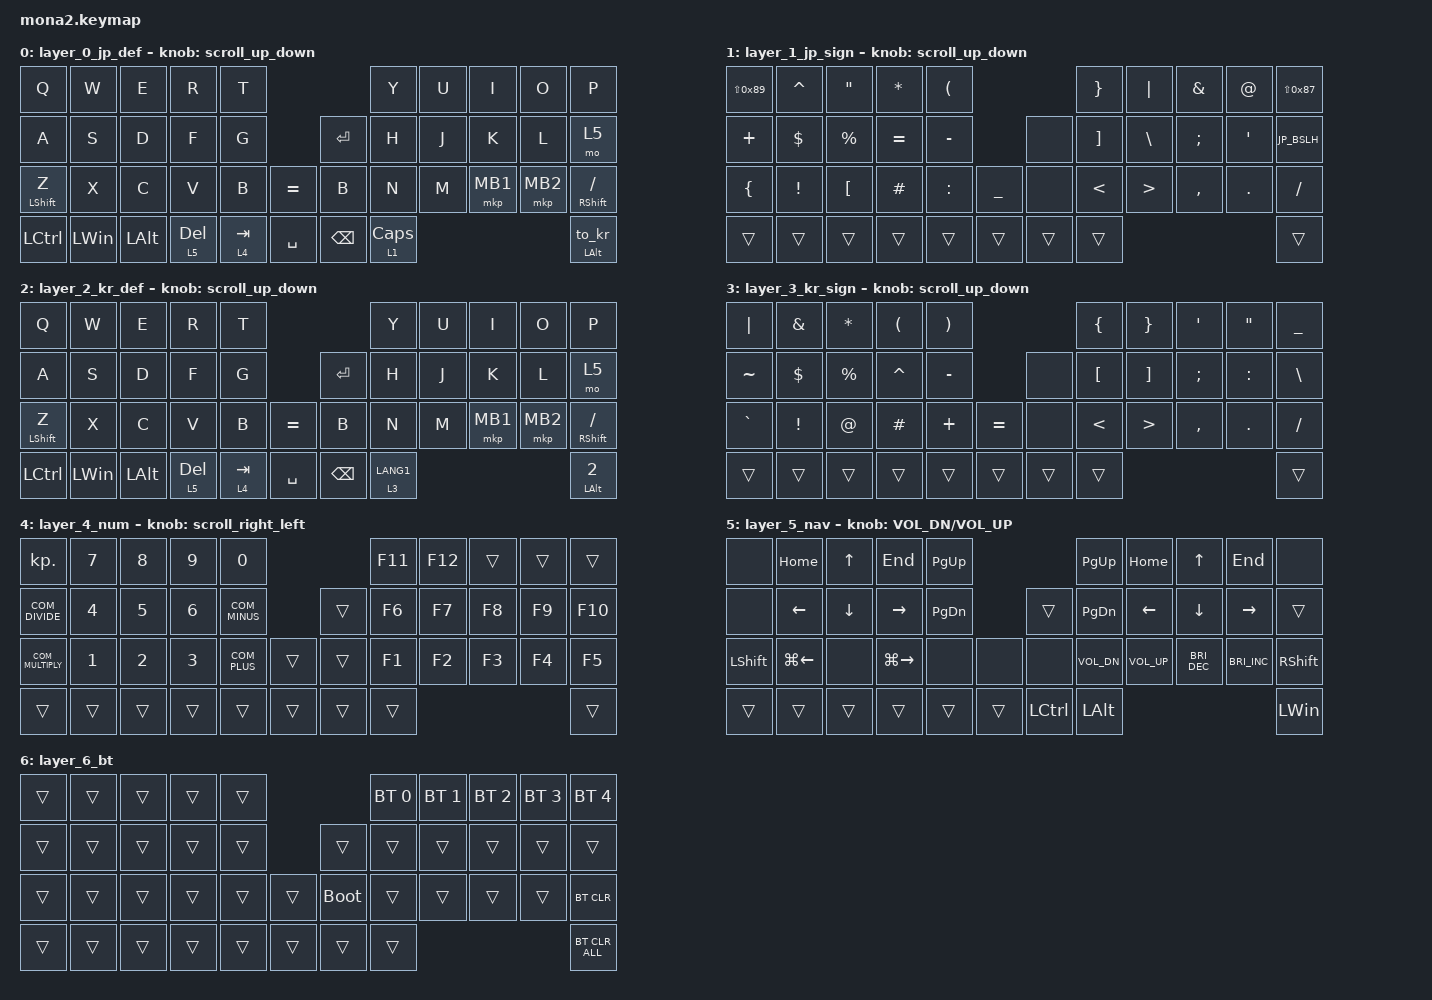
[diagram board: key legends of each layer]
#include <input/processors.dtsi>
#include <dt-bindings/zmk/input_transform.h>
#include <zephyr/dt-bindings/input/input-event-codes.h>
#include <behaviors.dtsi>
#include <dt-bindings/zmk/bt.h>
#include <dt-bindings/zmk/keys.h>
#include <dt-bindings/zmk/pointing.h>

#define ZMK_POINTING_DEFAULT_SCRL_VAL 100

// OS設定を日本語キーボードのまま使用するための変換定義

#define JP_DQT          AT                // "
#define JP_AMPS         CARET             // &
#define JP_SQT          AMPS              // '
#define JP_EQUAL        UNDER             // =
#define JP_CARET        EQUAL             // ^
#define JP_BSLH         0x89              // ¥
#define JP_PLUS         COLON             // +
#define JP_TILDE        PLUS              // ~
#define JP_PIPE         LS(0x89)          // |
#define JP_AT           LBKT              // @
#define JP_COLON        SQT               // :
#define JP_STAR         DQT               // *
#define JP_GRAVE        LBRC              // `
#define JP_UNDER        LS(0x87)          // _
#define JP_LBKT         RBKT              // [
#define JP_RBKT         BSLH              // ]
#define JP_LPAR         STAR              // (
#define JP_RPAR         LPAR              // )
#define JP_LBRC         RBRC              // {
#define JP_RBRC         PIPE              // }
#define JP_KANA         LANGUAGE_1        // かな
#define JP_EISU         LANGUAGE_2        // 英数
#define JP_HANZEN       GRAVE             // 半角/全角
#define COM_PLUS        0x57              // +
#define COM_MINUS       0x56              // -
#define COM_MULTIPLY    0x55              // *
#define COM_DIVIDE      0x54              // /

&mt {
    flavor = "balanced";
    quick-tap-ms = <0>;
};

&lt {
    quick-tap-ms = <300>;
    flavor = "balanced";
};

/ {
    combos {
        compatible = "zmk,combos";

        layer6_ESC {
            bindings = <&lt 6 ESC>;
            key-positions = <39 38>;
        };

        user_ESC {
            bindings = <&kp ESCAPE>;
            key-positions = <0 1>;
        };
    };

    macros {
        to_layer_0: to_layer_0 {
            compatible = "zmk,behavior-macro-one-param";
            #binding-cells = <1>;
            bindings = <&to 0 &macro_param_1to1 &kp MACRO_PLACEHOLDER>;
            label = "TO_LAYER_0";
        };

        to_layer_2: to_layer_2 {
            compatible = "zmk,behavior-macro-one-param";
            #binding-cells = <1>;
            bindings = <&to 2 &macro_param_1to1 &kp MACRO_PLACEHOLDER>;
            label = "TO_LAYER_2";
        };

        // 한국어 모드로 전환 (US 레이어로 복귀 + 한/영 키 전송)

        to_kr: to_kr_macro {
            compatible = "zmk,behavior-macro";
            #binding-cells = <0>;
            bindings = <&kp LG(SPACE) &to 2>;    // Windows 언어 전환 단축키 (Alt + `)
        };

        // 일본어 모드로 전환 (JP 레이어로 이동 + 한/영 키 전송)

        to_jp: to_jp_macro {
            compatible = "zmk,behavior-macro";
            #binding-cells = <0>;
            bindings = <&kp LG(SPACE) &to 0>;    // Windows 언어 전환 단축키
        };

        // windowsへの接続

        bt0_conn: bt0_conn {
            compatible = "zmk,behavior-macro";
            #binding-cells = <0>;
            bindings =
                <&bt BT_SEL 0>,
                <&macro_wait_time 500>,
                <&tog_on 0 &tog_on 1 &tog_on 2 &tog_on 3>;

            label = "BT0_CONN";
        };

        // macへの接続

        bt1_conn: bt1_conn {
            compatible = "zmk,behavior-macro";
            #binding-cells = <0>;
            bindings =
                <&tog_off 2 &tog_off 3>,
                <&macro_wait_time 200>,
                <&bt BT_SEL 1>,
                <&macro_wait_time 500>,
                <&tog_on 0 &tog_on 1>;

            label = "BT1_CONN";
        };
    };

    behaviors {
        lt_to_layer_0: lt_to_layer_0 {
            compatible = "zmk,behavior-hold-tap";
            label = "LAYER_TAP_TO_0";
            bindings = <&mo>, <&to_layer_0>;

            #binding-cells = <2>;
            tapping-term-ms = <200>;
        };

        lt_to_layer_2: lt_to_layer_2 {
            compatible = "zmk,behavior-hold-tap";
            label = "LAYER_TAP_TO_2";
            bindings = <&mo>, <&to_layer_2>;

            #binding-cells = <2>;
            tapping-term-ms = <200>;
        };

        scroll_up_down: mouse_wheel_up_down {
            compatible = "zmk,behavior-sensor-rotate";
            #sensor-binding-cells = <0>;
            bindings = <&msc SCRL_DOWN>, <&msc SCRL_UP>;

            tap-ms = <20>;
        };

        scroll_right_left: mouse_wheel_right_left {
            compatible = "zmk,behavior-sensor-rotate";
            #sensor-binding-cells = <0>;
            bindings = <&msc SCRL_LEFT>, <&msc SCRL_RIGHT>;

            tap-ms = <20>;
        };

        hold_alt_to_kr: hold_alt_to_kr {
            compatible = "zmk,behavior-hold-tap";
            label = "HOLD_ALT_TO_KR";
            bindings = <&kp>, <&to_kr>;

            #binding-cells = <2>;
            tapping-term-ms = <200>;
        };

        hold_alt_to_jp: hold_alt_to_jp {
            compatible = "zmk,behavior-hold-tap";
            label = "HOLD_ALT_TO_JP";
            bindings = <&kp>, <&to_jp>;

            #binding-cells = <2>;
            tapping-term-ms = <200>;
        };

        tog_on: tog_on {
            compatible = "zmk,behavior-toggle-layer";
            label = "TOG_ON";
            #binding-cells = <1>;
            toggle-mode = "on";
        };

        tog_off: tog_off {
            compatible = "zmk,behavior-toggle-layer";
            label = "TOG_OFF";
            #binding-cells = <1>;
            toggle-mode = "off";
        };
    };

    keymap {
        compatible = "zmk,keymap";

        layer_0_jp_def {
            bindings = <
&kp Q             &kp W         &kp E         &kp R                    &kp T                                             &kp Y                      &kp U  &kp I     &kp O     &kp P
&kp A             &kp S         &kp D         &kp F                    &kp G                              &kp ENTER      &kp H                      &kp J  &kp K     &kp L     &mo 5
&mt LEFT_SHIFT Z  &kp X         &kp C         &kp V                    &kp B                 &kp EQUAL    &kp B          &kp N                      &kp M  &mkp MB1  &mkp MB2  &mt RIGHT_SHIFT SLASH
&kp LCTRL         &kp LEFT_WIN  &kp LEFT_ALT  &lt_to_layer_0 5 DELETE  &lt_to_layer_0 4 TAB  &kp SPACE    &kp BACKSPACE  &lt_to_layer_0 1 CAPSLOCK                             &hold_alt_to_kr LEFT_ALT 0
            >;

            sensor-bindings = <&scroll_up_down>;
        };

        layer_1_jp_sign {
            bindings = <
&kp JP_PIPE   &kp JP_AMPS  &kp JP_STAR  &kp JP_LPAR   &kp JP_RPAR                          &kp JP_LBRC  &kp JP_RBRC  &kp JP_SQT  &kp JP_DQT    &kp JP_UNDER
&kp JP_TILDE  &kp DLLR     &kp PRCNT    &kp JP_CARET  &kp MINUS                    &none   &kp JP_LBKT  &kp JP_RBKT  &kp SEMI    &kp JP_COLON  &kp JP_BSLH
&kp JP_GRAVE  &kp EXCL     &kp JP_AT    &kp HASH      &kp JP_PLUS  &kp JP_EQUAL    &none   &kp LT       &kp GT       &kp COMMA   &kp DOT       &kp SLASH
&trans        &trans       &trans       &trans        &trans       &trans          &trans  &trans                                              &trans
            >;

            sensor-bindings = <&scroll_up_down>;
        };

        layer_2_kr_def {
            bindings = <
&kp Q             &kp W         &kp E         &kp R                    &kp T                                             &kp Y                   &kp U  &kp I     &kp O     &kp P
&kp A             &kp S         &kp D         &kp F                    &kp G                              &kp ENTER      &kp H                   &kp J  &kp K     &kp L     &mo 5
&mt LEFT_SHIFT Z  &kp X         &kp C         &kp V                    &kp B                 &kp EQUAL    &kp B          &kp N                   &kp M  &mkp MB1  &mkp MB2  &mt RIGHT_SHIFT SLASH
&kp LCTRL         &kp LEFT_WIN  &kp LEFT_ALT  &lt_to_layer_0 5 DELETE  &lt_to_layer_2 4 TAB  &kp SPACE    &kp BACKSPACE  &lt_to_layer_2 3 LANG1                             &hold_alt_to_jp LEFT_ALT 2
            >;

            sensor-bindings = <&scroll_up_down>;
        };

        layer_3_kr_sign {
            bindings = <
&kp PIPE   &kp AMPS  &kp STAR   &kp LPAR   &kp RPAR                        &kp LBRC  &kp RBRC  &kp SQT    &kp DQT    &kp UNDER
&kp TILDE  &kp DLLR  &kp PRCNT  &kp CARET  &kp MINUS               &none   &kp LBKT  &kp RBKT  &kp SEMI   &kp COLON  &kp BSLH
&kp GRAVE  &kp EXCL  &kp AT     &kp HASH   &kp PLUS   &kp EQUAL    &none   &kp LT    &kp GT    &kp COMMA  &kp DOT    &kp SLASH
&trans     &trans    &trans     &trans     &trans     &trans       &trans  &trans                                    &trans
            >;

            sensor-bindings = <&scroll_up_down>;
        };

        layer_4_num {
            bindings = <
&kp KP_DOT        &kp NUMBER_7  &kp NUMBER_8  &kp NUMBER_9  &kp NUMBER_0                     &kp F11  &kp F12  &trans  &trans  &trans
&kp COM_DIVIDE    &kp NUMBER_4  &kp NUMBER_5  &kp NUMBER_6  &kp COM_MINUS            &trans  &kp F6   &kp F7   &kp F8  &kp F9  &kp F10
&kp COM_MULTIPLY  &kp NUMBER_1  &kp NUMBER_2  &kp NUMBER_3  &kp COM_PLUS   &trans    &trans  &kp F1   &kp F2   &kp F3  &kp F4  &kp F5
&trans            &trans        &trans        &trans        &trans         &trans    &trans  &trans                            &trans
            >;

            sensor-bindings = <&scroll_right_left>;
        };

        layer_5_nav {
            bindings = <
&none           &kp HOME            &kp UP_ARROW    &kp END              &kp PG_UP                       &kp PG_UP     &kp HOME        &kp UP_ARROW          &kp END               &none
&none           &kp LEFT_ARROW      &kp DOWN_ARROW  &kp RIGHT_ARROW      &kp PG_DN            &trans     &kp PG_DN     &kp LEFT_ARROW  &kp DOWN_ARROW        &kp RIGHT_ARROW       &trans
&kp LEFT_SHIFT  &kp LG(LEFT_ARROW)  &none           &kp LG(RIGHT_ARROW)  &none      &none     &none      &kp C_VOL_DN  &kp C_VOL_UP    &kp C_BRIGHTNESS_DEC  &kp C_BRIGHTNESS_INC  &kp RIGHT_SHIFT
&trans          &trans              &trans          &trans               &trans     &trans    &kp LCTRL  &kp LEFT_ALT                                                              &kp LEFT_WIN
            >;

            sensor-bindings = <&inc_dec_kp C_VOL_DN C_VOL_UP>;
        };

        layer_6_bt {
            bindings = <
&trans  &trans  &trans  &trans  &trans                         &bt BT_SEL 0  &bt BT_SEL 1  &bt BT_SEL 2  &bt BT_SEL 3  &bt BT_SEL 4
&trans  &trans  &trans  &trans  &trans            &trans       &trans        &trans        &trans        &trans        &trans
&trans  &trans  &trans  &trans  &trans  &trans    &bootloader  &trans        &trans        &trans        &trans        &bt BT_CLR
&trans  &trans  &trans  &trans  &trans  &trans    &trans       &trans                                                  &bt BT_CLR_ALL
            >;
        };
    };
};
